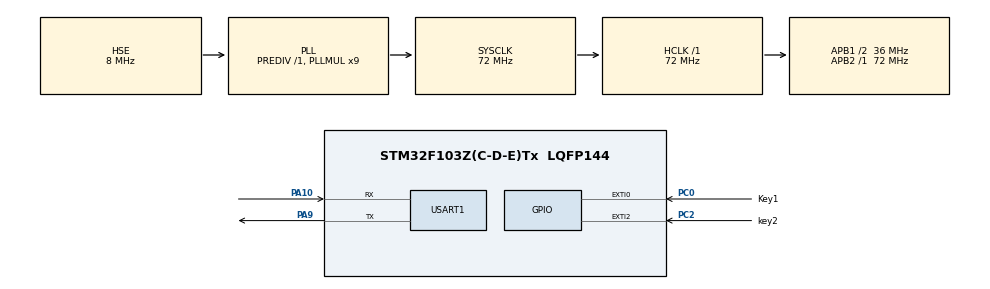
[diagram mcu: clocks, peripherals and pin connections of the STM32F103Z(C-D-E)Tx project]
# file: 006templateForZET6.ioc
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FREERTOS.Tasks01=defaultTask,24,128,StartDefaultTask,Default,NULL,Dynamic,NULL,NULL
FREERTOS.configTIMER_TASK_PRIORITY=8
FREERTOS.configTOTAL_HEAP_SIZE=20480
FREERTOS.configUSE_TIMERS=1
Mcu.Family=STM32F1
Mcu.Name=STM32F103Z(C-D-E)Tx
Mcu.Package=LQFP144
NVIC.EXTI0_IRQn=true\:5\:0\:false\:false\:true\:true\:true\:true\:true
NVIC.EXTI2_IRQn=true\:5\:0\:false\:false\:true\:true\:true\:true\:true
NVIC.PriorityGroup=NVIC_PRIORITYGROUP_4
NVIC.TIM1_UP_IRQn=true\:15\:0\:false\:false\:true\:false\:false\:true\:true
NVIC.TimeBase=TIM1_UP_IRQn
NVIC.TimeBaseIP=TIM1
OSC_IN.Mode=HSE-External-Oscillator
OSC_IN.Signal=RCC_OSC_IN
OSC_OUT.Mode=HSE-External-Oscillator
OSC_OUT.Signal=RCC_OSC_OUT
PA10.Mode=Asynchronous
PA10.Signal=USART1_RX
PA13.Mode=Serial_Wire
PA13.Signal=SYS_JTMS-SWDIO
PA14.Mode=Serial_Wire
PA14.Signal=SYS_JTCK-SWCLK
PA9.Mode=Asynchronous
PA9.Signal=USART1_TX
PC0.GPIO_Label=Key1
PC0.GPIO_PuPd=GPIO_PULLUP
PC0.Signal=GPXTI0
PC14-OSC32_IN.Mode=LSE-External-Oscillator
PC14-OSC32_IN.Signal=RCC_OSC32_IN
PC15-OSC32_OUT.Mode=LSE-External-Oscillator
PC15-OSC32_OUT.Signal=RCC_OSC32_OUT
PC2.GPIO_Label=key2
PC2.GPIO_PuPd=GPIO_PULLUP
PC2.Signal=GPXTI2
ProjectManager.HeapSize=0x200
ProjectManager.StackSize=0x400
ProjectManager.TargetToolchain=MDK-ARM V5.32
RCC.AHBFreq_Value=72000000
RCC.APB1CLKDivider=RCC_HCLK_DIV2
RCC.APB1Freq_Value=36000000
RCC.APB1TimFreq_Value=72000000
RCC.APB2Freq_Value=72000000
RCC.APB2TimFreq_Value=72000000
RCC.HCLKFreq_Value=72000000
RCC.PLLMUL=RCC_PLL_MUL9
RCC.PLLSourceVirtual=RCC_PLLSOURCE_HSE
RCC.SYSCLKFreq_VALUE=72000000
RCC.SYSCLKSource=RCC_SYSCLKSOURCE_PLLCLK
RCC.USBFreq_Value=72000000
USART1.VirtualMode=VM_ASYNC
VP_FREERTOS_VS_CMSIS_V2.Mode=CMSIS_V2
VP_SYS_VS_tim1.Mode=TIM1
board=custom

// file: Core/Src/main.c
/* USER CODE BEGIN Header */
/**
  ******************************************************************************
  * @file           : main.c
  * @brief          : Main program body
  ******************************************************************************
  * @attention
  *
  * Copyright (c) 2025 STMicroelectronics.
  * All rights reserved.
  *
  * This software is licensed under terms that can be found in the LICENSE file
  * in the root directory of this software component.
  * If no LICENSE file comes with this software, it is provided AS-IS.
  *
  ******************************************************************************
  */
/* USER CODE END Header */
#include "main.h"
#include "cmsis_os.h"
#include "usart.h"
#include "gpio.h"

void SystemClock_Config(void);
void MX_FREERTOS_Init(void);

int main(void)
{

  /* MCU Configuration--------------------------------------------------------*/

  /* Reset of all peripherals, Initializes the Flash interface and the Systick. */
  HAL_Init();

  /* Configure the system clock */
  SystemClock_Config();

  /* Initialize all configured peripherals */
  MX_GPIO_Init();
  MX_USART1_UART_Init();
  /* USER CODE BEGIN 2 */
  printf("Hello World!\r\n");
  /* USER CODE END 2 */

  /* Init scheduler */
  osKernelInitialize();

  /* Call init function for freertos objects (in cmsis_os2.c) */
  MX_FREERTOS_Init();

  /* Start scheduler */
  osKernelStart();

  /* We should never get here as control is now taken by the scheduler */

  /* Infinite loop */
  while (1)
  {

  }
}

void SystemClock_Config(void)
{
  RCC_OscInitTypeDef RCC_OscInitStruct = {0};
  RCC_ClkInitTypeDef RCC_ClkInitStruct = {0};

  /** Initializes the RCC Oscillators according to the specified parameters
  * in the RCC_OscInitTypeDef structure.
  */
  RCC_OscInitStruct.OscillatorType = RCC_OSCILLATORTYPE_HSE;
  RCC_OscInitStruct.HSEState = RCC_HSE_ON;
  RCC_OscInitStruct.HSEPredivValue = RCC_HSE_PREDIV_DIV1;
  RCC_OscInitStruct.HSIState = RCC_HSI_ON;
  RCC_OscInitStruct.PLL.PLLState = RCC_PLL_ON;
  RCC_OscInitStruct.PLL.PLLSource = RCC_PLLSOURCE_HSE;
  RCC_OscInitStruct.PLL.PLLMUL = RCC_PLL_MUL9;
  if (HAL_RCC_OscConfig(&RCC_OscInitStruct) != HAL_OK)
  {
    Error_Handler();
  }

  /** Initializes the CPU, AHB and APB buses clocks
  */
  RCC_ClkInitStruct.ClockType = RCC_CLOCKTYPE_HCLK|RCC_CLOCKTYPE_SYSCLK
                              |RCC_CLOCKTYPE_PCLK1|RCC_CLOCKTYPE_PCLK2;
  RCC_ClkInitStruct.SYSCLKSource = RCC_SYSCLKSOURCE_PLLCLK;
  RCC_ClkInitStruct.AHBCLKDivider = RCC_SYSCLK_DIV1;
  RCC_ClkInitStruct.APB1CLKDivider = RCC_HCLK_DIV2;
  RCC_ClkInitStruct.APB2CLKDivider = RCC_HCLK_DIV1;

  if (HAL_RCC_ClockConfig(&RCC_ClkInitStruct, FLASH_LATENCY_2) != HAL_OK)
  {
    Error_Handler();
  }
}

void HAL_TIM_PeriodElapsedCallback(TIM_HandleTypeDef *htim)
{
  if (htim->Instance == TIM1)
  {
    HAL_IncTick();
  }
}

void Error_Handler(void)
{
  __disable_irq();
  while (1)
  {
  }
}

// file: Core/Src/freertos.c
/* USER CODE BEGIN Header */
/**
  ******************************************************************************
  * File Name          : freertos.c
  * Description        : Code for freertos applications
  ******************************************************************************
  * @attention
  *
  * Copyright (c) 2025 STMicroelectronics.
  * All rights reserved.
  *
  * This software is licensed under terms that can be found in the LICENSE file
  * in the root directory of this software component.
  * If no LICENSE file comes with this software, it is provided AS-IS.
  *
  ******************************************************************************
  */
/* USER CODE END Header */

#include "FreeRTOS.h"
#include "task.h"
#include "main.h"
#include "cmsis_os.h"

/* USER CODE BEGIN Includes */
#include "task1.h"
#include "task2.h"
#include "task3.h"
#include "showTaskInfo.h"
#include "usart.h"
#include "timers.h"
/* USER CODE END Includes */

/* Definitions for defaultTask */
osThreadId_t defaultTaskHandle;
const osThreadAttr_t defaultTask_attributes = {
  .name = "defaultTask",
  .stack_size = 128 * 4,
  .priority = (osPriority_t) osPriorityNormal,
};

/* USER CODE BEGIN FunctionPrototypes */
TaskHandle_t task1_handle;
TaskHandle_t task2_handle;
TaskHandle_t showTaskInfo_handle;
TaskHandle_t task3_handle;//receive task queue

TimerHandle_t xTimer1;
TimerHandle_t xTimer2;
void timer1_callback(TimerHandle_t xTimer);
void timer2_callback(TimerHandle_t xTimer);
/* USER CODE END FunctionPrototypes */

void StartDefaultTask(void *argument);

void MX_FREERTOS_Init(void); /* (MISRA C 2004 rule 8.1) */

void MX_FREERTOS_Init(void) {

  /* Create the thread(s) */
  /* creation of defaultTask */
  defaultTaskHandle = osThreadNew(StartDefaultTask, NULL, &defaultTask_attributes);

}

void StartDefaultTask(void *argument)
{
  /* USER CODE BEGIN StartDefaultTask */
  taskENTER_CRITICAL();
  xTimer1 = xTimerCreate( "Timer1", pdMS_TO_TICKS(1000), pdFALSE, (void *)1, timer1_callback );
  xTimer2 = xTimerCreate( "Timer2", pdMS_TO_TICKS(2000), pdTRUE, (void *)2, timer2_callback );
  // xTaskCreate(task1, "task1", 128, NULL, 1, &task1_handle);
  // xTaskCreate(task2, "task2", 128, NULL, 2, &task2_handle);
  // xTaskCreate(task3, "task3", 128, NULL, 3, &task3_handle);
  //xTaskCreate(showTaskInfo, "showTaskInfo", 128, NULL, 3, &showTaskInfo_handle);
  // 创建任务3
  // BaseType_t xReturned = xTaskCreate(showTaskInfo, "showTaskInfo", 128, NULL, 3, &showTaskInfo_handle);
  // if( xReturned != pdPASS ) {
  //   // 任务创建失败，打印错误信息
  //   printf("Task 3 creation failed! Error code: %d\r\n", xReturned);
  // }
  // vTaskSuspend(task1_handle);
  // vTaskSuspend(task2_handle);
  vTaskDelete(NULL);
  taskEXIT_CRITICAL();

  //删除本任务

  /* Infinite loop */
  for(;;)
  {
    osDelay(1000);
  }
  /* USER CODE END StartDefaultTask */
}

/* USER CODE BEGIN Application */
// External interrupt callback function
uint64_t pretime = 0;
uint8_t flag = Suspended; // Default suspended
void HAL_GPIO_EXTI_Callback(uint16_t GPIO_Pin) {
  uint64_t nowtime;
  BaseType_t xHigherPriorityTaskWoken = pdFALSE; // Declare this variable once for ISR-safe API calls

  if(GPIO_Pin == GPIO_PIN_0) {
    // Interrupt handling
    nowtime = HAL_GetTick();
    if(nowtime - pretime < 100) return;
    printf("开启定时器\r\n");
    // Start timers
    xTimerStartFromISR(xTimer1, &xHigherPriorityTaskWoken);
    portYIELD_FROM_ISR(xHigherPriorityTaskWoken);
    xTimerStartFromISR(xTimer2, &xHigherPriorityTaskWoken); // Corrected argument
  }
  else if(GPIO_Pin == GPIO_PIN_2) {
    nowtime = HAL_GetTick();
    if(nowtime - pretime < 100) return;
    printf("关闭定时器\r\n");
    // Stop timers
    xTimerStopFromISR(xTimer1, &xHigherPriorityTaskWoken); // Corrected argument
    xTimerStopFromISR(xTimer2, &xHigherPriorityTaskWoken); // Corrected argument
    portYIELD_FROM_ISR(xHigherPriorityTaskWoken); // Ensure context switch if needed
  }
  pretime = nowtime;
}
// Timer callback functions
void timer1_callback(TimerHandle_t xTimer) {
  static uint16_t count = 0;
  printf("timer1 value = %d\r\n", ++count);
}
void timer2_callback(TimerHandle_t xTimer) {
  static uint16_t count = 0;
  printf("timer2 value = %d\r\n", ++count);
}
/* USER CODE END Application */
